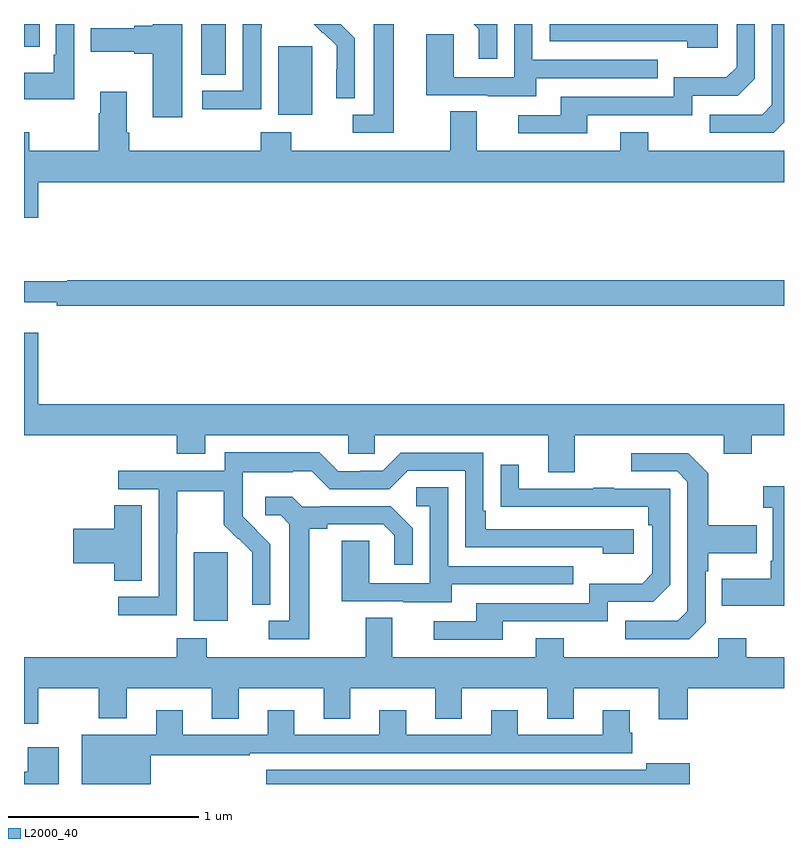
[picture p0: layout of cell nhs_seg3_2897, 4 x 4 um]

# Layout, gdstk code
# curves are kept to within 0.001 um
import gdstk
lib = gdstk.Library(unit=1e-6, precision=1e-09)
def R(c, l, rs):  # rectangles x0, y0, x1, y1
    for r in rs: c.add(gdstk.rectangle(r[:2], r[2:], *l))
def P(c, l, *ps):  # polygons
    for p in ps: c.add(gdstk.Polygon(p, *l))
L2000_40 = (2000, 40)

nhs_seg3_2897 = lib.new_cell('nhs_seg3_2897')
R(nhs_seg3_2897, L2000_40, [(261.893,713.258,262.072,713.619), (262.337,715.922,262.516,716.283), (261.932,716.134,262.063,716.4), (261,716.279,261.083,716.4)])
P(nhs_seg3_2897, L2000_40, [(263.695,716.115),(264.335,716.115),(264.335,716.211),(263.676,716.211),(263.676,716.4),(263.58,716.4),(263.58,716.121),(263.262,716.121),(263.262,716.345),(263.117,716.345),(263.117,716.025),(263.441,716.025),(263.441,716.021),(263.695,716.021)],
  [(261.264,716.4),(261.168,716.4),(261.168,716.239),(261.156,716.239),(261.156,716.143),(261,716.143),(261,716.003),(261.264,716.003)],
  [(261.832,716.4),(261.677,716.4),(261.677,716.39),(261.581,716.39),(261.581,716.377),(261.351,716.377),(261.351,716.255),(261.581,716.255),(261.581,716.243),(261.677,716.243),(261.677,715.908),(261.832,715.908)],
  [(263.965,715.92),(264.516,715.92),(264.516,716.022),(264.756,716.022),(264.846,716.112),(264.846,716.4),(264.75,716.4),(264.75,716.172),(264.697,716.119),(264.42,716.119),(264.42,716.016),(263.825,716.016),(263.825,715.92),(263.601,715.92),(263.601,715.824),(263.965,715.824)],
  [(262.945,716.4),(262.841,716.4),(262.841,715.923),(262.731,715.923),(262.731,715.827),(262.945,715.827)],
  [(263.49,716.4),(263.366,716.4),(263.393,716.373),(263.393,716.217),(263.49,716.217)],
  [(262.248,716.38),(262.251,716.38),(262.251,716.4),(262.152,716.4),(262.152,716.049),(261.939,716.049),(261.939,715.951),(262.248,715.951)],
  [(262.74,716.326),(262.667,716.399),(262.668,716.4),(262.524,716.4),(262.572,716.352),(262.575,716.355),(262.646,716.285),(262.646,716.162),(262.644,716.162),(262.644,716.008),(262.74,716.008)],
  [(264.652,716.4),(263.766,716.4),(263.766,716.31),(264.491,716.31),(264.491,716.276),(264.652,716.276)],
  [(265,715.882),(265,716.4),(264.936,716.4),(264.936,715.974),(264.885,715.923),(264.609,715.923),(264.609,715.827),(264.945,715.827)],
  [(261.076,715.568),(265,715.568),(265,715.732),(264.285,715.732),(264.285,715.831),(264.137,715.831),(264.137,715.732),(263.383,715.732),(263.383,715.94),(263.243,715.94),(263.243,715.732),(262.407,715.732),(262.407,715.831),(262.247,715.831),(262.247,715.732),(261.554,715.732),(261.554,715.828),(261.541,715.828),(261.541,716.044),(261.401,716.044),(261.401,715.931),(261.394,715.931),(261.394,715.732),(261.027,715.732),(261.027,715.831),(261,715.831),(261,715.38),(261.076,715.38)],
  [(265,715.052),(261.227,715.052),(261.227,715.045),(261,715.045),(261,714.935),(261.172,714.935),(261.172,714.916),(265,714.916)],
  [(263.899,714.236),(264.683,714.236),(264.683,714.137),(264.831,714.137),(264.831,714.236),(265,714.236),(265,714.4),(261.076,714.4),(261.076,714.775),(261,714.775),(261,714.236),(261.803,714.236),(261.803,714.137),(261.955,714.137),(261.955,714.236),(262.707,714.236),(262.707,714.138),(262.845,714.138),(262.845,714.236),(263.759,714.236),(263.759,714.042),(263.899,714.042)],
  [(261.804,713.716),(261.807,713.716),(261.807,713.94),(262.051,713.94),(262.051,713.765),(262.128,713.688),(262.131,713.691),(262.202,713.621),(262.202,713.498),(262.2,713.498),(262.2,713.344),(262.296,713.344),(262.296,713.662),(262.15,713.81),(262.15,713.907),(262.152,713.907),(262.152,714.041),(262.415,714.041),(262.415,714.045),(262.515,714.045),(262.608,713.952),(262.923,713.952),(263.019,714.048),(263.322,714.048),(263.322,713.646),(264.047,713.646),(264.047,713.612),(264.208,713.612),(264.208,713.742),(263.431,713.742),(263.431,713.839),(263.418,713.839),(263.418,714.144),(262.983,714.144),(262.887,714.048),(262.769,714.048),(262.769,714.045),(262.653,714.045),(262.553,714.145),(262.056,714.145),(262.056,714.048),(261.495,714.048),(261.495,713.952),(261.708,713.952),(261.708,713.385),(261.495,713.385),(261.495,713.287),(261.804,713.287)],
  [(264.588,713.25),(264.588,713.519),(264.601,713.519),(264.601,713.615),(264.857,713.615),(264.857,713.763),(264.601,713.763),(264.601,714.035),(264.495,714.141),(264.195,714.141),(264.195,714.045),(264.438,714.045),(264.492,713.991),(264.492,713.31),(264.441,713.259),(264.165,713.259),(264.165,713.163),(264.501,713.163)],
  [(263.521,713.256),(264.072,713.256),(264.072,713.358),(264.312,713.358),(264.402,713.448),(264.402,713.955),(264.107,713.955),(264.107,713.96),(263.995,713.96),(263.995,713.955),(263.605,713.955),(263.605,714.079),(263.509,714.079),(263.509,713.86),(264.286,713.859),(264.286,713.762),(264.306,713.762),(264.306,713.508),(264.253,713.455),(263.976,713.455),(263.976,713.352),(263.381,713.352),(263.381,713.256),(263.157,713.256),(263.157,713.16),(263.521,713.16)],
  [(265,713.968),(264.891,713.968),(264.891,713.855),(264.942,713.855),(264.942,713.575),(264.93,713.575),(264.93,713.479),(264.673,713.479),(264.673,713.339),(265,713.339)],
  [(263.251,713.451),(263.891,713.451),(263.891,713.547),(263.232,713.547),(263.232,713.963),(263.064,713.963),(263.064,713.862),(263.136,713.862),(263.136,713.457),(262.818,713.457),(262.818,713.681),(262.673,713.681),(262.673,713.361),(262.997,713.361),(262.997,713.357),(263.251,713.357)],
  [(262.501,713.744),(262.597,713.744),(262.597,713.766),(262.892,713.766),(262.949,713.709),(262.949,713.553),(263.046,713.553),(263.046,713.746),(262.93,713.862),(262.558,713.862),(262.558,713.859),(262.464,713.859),(262.412,713.911),(262.269,713.911),(262.269,713.814),(262.35,713.814),(262.397,713.767),(262.397,713.259),(262.287,713.259),(262.287,713.163),(262.501,713.163)],
  [(261.619,713.867),(261.476,713.867),(261.476,713.744),(261.258,713.744),(261.258,713.561),(261.476,713.561),(261.476,713.47),(261.619,713.47)],
  [(261.076,712.904),(261.394,712.904),(261.394,712.745),(261.541,712.745),(261.541,712.904),(261.989,712.904),(261.989,712.744),(262.129,712.744),(262.129,712.904),(262.577,712.904),(262.577,712.744),(262.717,712.744),(262.717,712.904),(263.165,712.904),(263.165,712.744),(263.305,712.744),(263.305,712.904),(263.753,712.904),(263.753,712.744),(263.893,712.744),(263.893,712.904),(264.341,712.904),(264.341,712.74),(264.494,712.74),(264.494,712.904),(265,712.904),(265,713.068),(264.801,713.068),(264.801,713.167),(264.654,713.167),(264.654,713.068),(263.841,713.068),(263.841,713.167),(263.693,713.167),(263.693,713.068),(262.939,713.068),(262.939,713.276),(262.799,713.276),(262.799,713.068),(261.963,713.068),(261.963,713.167),(261.803,713.167),(261.803,713.068),(261,713.068),(261,712.716),(261.076,712.716)],
  [(261.667,712.551),(262.187,712.551),(262.187,712.563),(264.2,712.563),(264.2,712.671),(264.187,712.671),(264.187,712.789),(264.047,712.789),(264.047,712.659),(263.599,712.659),(263.599,712.789),(263.459,712.789),(263.459,712.659),(263.011,712.659),(263.011,712.789),(262.871,712.789),(262.871,712.659),(262.423,712.659),(262.423,712.789),(262.283,712.789),(262.283,712.659),(261.835,712.659),(261.835,712.789),(261.695,712.789),(261.695,712.66),(261.305,712.66),(261.305,712.4),(261.667,712.4)],
  [(261.184,712.594),(261.019,712.594),(261.019,712.464),(261,712.464),(261,712.4),(261.184,712.4)],
  [(264.505,712.51),(264.275,712.51),(264.275,712.474),(262.275,712.474),(262.275,712.4),(264.505,712.4)])

lib.write_gds('nhs_seg3_2897.gds')
